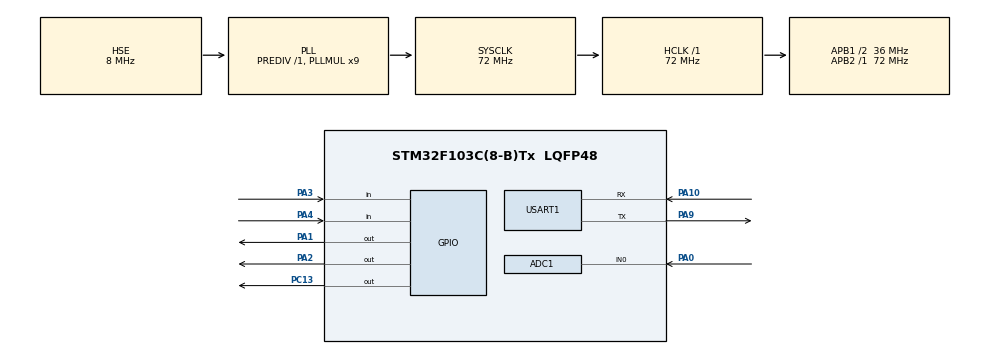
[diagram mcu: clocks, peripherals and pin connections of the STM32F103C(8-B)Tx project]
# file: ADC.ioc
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ADC1.Channel-0\#ChannelRegularConversion=ADC_CHANNEL_0
ADC1.ContinuousConvMode=ENABLE
ADC1.NbrOfConversionFlag=1
ADC1.Rank-0\#ChannelRegularConversion=1
ADC1.SamplingTime-0\#ChannelRegularConversion=ADC_SAMPLETIME_28CYCLES_5
ADC1.master=1
Mcu.Family=STM32F1
Mcu.Name=STM32F103C(8-B)Tx
Mcu.Package=LQFP48
NVIC.ADC1_2_IRQn=true\:0\:0\:false\:false\:true\:true\:true\:true
NVIC.PriorityGroup=NVIC_PRIORITYGROUP_4
NVIC.USART1_IRQn=true\:0\:0\:false\:false\:true\:true\:true\:true
PA0-WKUP.Signal=ADCx_IN0
PA1.Signal=GPIO_Output
PA10.Mode=Asynchronous
PA10.Signal=USART1_RX
PA13.Mode=Serial_Wire
PA13.Signal=SYS_JTMS-SWDIO
PA14.Mode=Serial_Wire
PA14.Signal=SYS_JTCK-SWCLK
PA2.Signal=GPIO_Output
PA3.GPIO_PuPd=GPIO_PULLUP
PA3.Signal=GPIO_Input
PA4.GPIO_PuPd=GPIO_PULLUP
PA4.Signal=GPIO_Input
PA9.Mode=Asynchronous
PA9.Signal=USART1_TX
PC13-TAMPER-RTC.Signal=GPIO_Output
PD0-OSC_IN.Mode=HSE-External-Oscillator
PD0-OSC_IN.Signal=RCC_OSC_IN
PD1-OSC_OUT.Mode=HSE-External-Oscillator
PD1-OSC_OUT.Signal=RCC_OSC_OUT
ProjectManager.HeapSize=0x200
ProjectManager.StackSize=0x400
ProjectManager.TargetToolchain=MDK-ARM V5.32
RCC.ADCPresc=RCC_ADCPCLK2_DIV6
RCC.AHBFreq_Value=72000000
RCC.APB1CLKDivider=RCC_HCLK_DIV2
RCC.APB1Freq_Value=36000000
RCC.APB1TimFreq_Value=72000000
RCC.APB2Freq_Value=72000000
RCC.APB2TimFreq_Value=72000000
RCC.HCLKFreq_Value=72000000
RCC.PLLMUL=RCC_PLL_MUL9
RCC.PLLSourceVirtual=RCC_PLLSOURCE_HSE
RCC.SYSCLKFreq_VALUE=72000000
RCC.SYSCLKSource=RCC_SYSCLKSOURCE_PLLCLK
RCC.USBFreq_Value=72000000
SH.ADCx_IN0.0=ADC1_IN0,IN0
USART1.StopBits=STOPBITS_1
USART1.VirtualMode=VM_ASYNC
board=custom

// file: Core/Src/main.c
/* USER CODE BEGIN Header */
/**
  ******************************************************************************
  * @file           : main.c
  * @brief          : Main program body
  ******************************************************************************
  * @attention
  *
  * Copyright (c) 2026 STMicroelectronics.
  * All rights reserved.
  *
  * This software is licensed under terms that can be found in the LICENSE file
  * in the root directory of this software component.
  * If no LICENSE file comes with this software, it is provided AS-IS.
  *
  ******************************************************************************
  */
/* USER CODE END Header */
#include "main.h"
#include "adc.h"
#include "usart.h"
#include "gpio.h"

/* USER CODE BEGIN Includes */
#include <stdio.h>
#include <string.h>
#include <stdlib.h>
/* USER CODE END Includes */

/* USER CODE BEGIN PD */
#define BASE_SAMPLE_RATE 1000  // 基准采样率 1kHz (1ms)
#define RX_BUFFER_SIZE 10
/* USER CODE END PD */

/* USER CODE BEGIN PV */
// 控制状态变量
uint8_t is_running = 1;        // 默认开机直接运行
uint32_t target_print_freq = 4; // 默认打印频率 1kHz (即不进行平均)
uint32_t samples_per_print = 249;    // 计算出的累加次数：1000 / target_print_freq

// ADC 数据处理变量
uint32_t adc_accumulator = 0;  // 累加器
uint32_t sample_counter = 0;   // 当前已采集样本数

// 计时变量
uint32_t last_sample_tick = 0;
uint32_t last_blink_tick = 0;
uint32_t last_key_tick = 0;

// 串口接收变量
uint8_t rx_byte;               // 接收单字节缓冲
char rx_buffer[RX_BUFFER_SIZE]; // 命令字符串缓冲
uint8_t rx_index = 0;
/* USER CODE END PV */

void SystemClock_Config(void);
/* USER CODE BEGIN PFP */
// 重定向 printf 到串口
int fputc(int ch, FILE *f) {
  HAL_UART_Transmit(&huart1, (uint8_t *)&ch, 1, 10);
  return ch;
}

// 处理接收到的命令字符串
void Process_Command(char *cmd) {
    if (cmd[0] == 'c') {
        // 切换启停
        is_running = !is_running;
        printf("System %s\r\n", is_running ? "Resumed" : "Stopped");
    }
    else if (cmd[0] == 't') {
        // 解析频率 t1000 或 t1
        int freq = atoi(&cmd[1]);
        if (freq > 0 && freq <= 1000) {
            target_print_freq = freq;
            samples_per_print = BASE_SAMPLE_RATE / target_print_freq;
            if (samples_per_print == 0) samples_per_print = 1;

            // 重置计数器防止逻辑错误
            sample_counter = 0;
            adc_accumulator = 0;
            printf("Print Freq set to: %d Hz (Avg %lu samples)\r\n", freq, samples_per_print);
        } else {
            printf("Error: Freq must be 1-1000\r\n");
        }
    }
}
/* USER CODE END PFP */

/* USER CODE BEGIN 0 */
// 串口接收中断回调函数
void HAL_UART_RxCpltCallback(UART_HandleTypeDef *huart) {
    if (huart->Instance == USART1) {
        // 如果收到换行符或缓冲区满，处理命令
        if (rx_byte == '\n' || rx_byte == '\r' || rx_index >= RX_BUFFER_SIZE - 1) {
            rx_buffer[rx_index] = '\0'; // 字符串结束符
            if (rx_index > 0) {
                Process_Command(rx_buffer);
            }
            rx_index = 0; // 重置缓冲区
        } else {
            rx_buffer[rx_index++] = rx_byte; // 存入缓冲
        }
        // 重新开启接收
        HAL_UART_Receive_IT(&huart1, &rx_byte, 1);
    }
}
/* USER CODE END 0 */

int main(void)
{

  /* MCU Configuration--------------------------------------------------------*/

  /* Reset of all peripherals, Initializes the Flash interface and the Systick. */
  HAL_Init();

  /* Configure the system clock */
  SystemClock_Config();

  /* Initialize all configured peripherals */
  MX_GPIO_Init();
  MX_ADC1_Init();
  MX_USART1_UART_Init();
  /* USER CODE BEGIN 2 */
  HAL_ADCEx_Calibration_Start(&hadc1); // ADC 校准，提高精度
  HAL_UART_Receive_IT(&huart1, &rx_byte, 1); // 开启串口接收中断

  printf("System Ready. Commands: 'c' to toggle, 't1000' to set freq.\r\n");
  last_sample_tick = HAL_GetTick();
  /* USER CODE END 2 */

  /* Infinite loop */
  while (1)
  {

    /* USER CODE BEGIN 3 */
	  uint32_t current_tick = HAL_GetTick();

    // --- 1. 按键检测 (PA3 上拉，按下为低电平) ---
    if (HAL_GPIO_ReadPin(GPIOA, GPIO_PIN_3) == GPIO_PIN_RESET) {
        if (current_tick - last_key_tick > 200) { // 200ms 消抖
            is_running = !is_running;
            printf("Key Pressed: System %s\r\n", is_running ? "Resumed" : "Stopped");
            last_key_tick = current_tick;
        }
    } else {
        // 如果按键抬起，稍微更新时间，避免长按松开后的误触（可选）
    }

    // --- 2. 采样任务 (1kHz = 1ms) ---
    if (is_running) {
        // 检查是否经过了 1ms
        if (current_tick - last_sample_tick >= 1) {
            last_sample_tick = current_tick;

            // 启动 ADC 转换
            HAL_ADC_Start(&hadc1);
            if (HAL_ADC_PollForConversion(&hadc1, 1) == HAL_OK) {
                uint32_t adc_val = HAL_ADC_GetValue(&hadc1);
                adc_accumulator += adc_val;
                sample_counter++;
            }

            // 检查是否达到打印/平均条件
            if (sample_counter >= samples_per_print) {
                // 计算平均值 (防止浮点运算过于频繁，先用整型，打印时转浮点)
                float voltage = (float)(adc_accumulator / sample_counter) * 3.3f / 4095.0f;

                // 打印数据
                // 注意：如果频率是 1000Hz，波特率 115200 可能跟不上打印速度，建议只在低频时打印详细信息
                if (target_print_freq > 500) {
                     // 高频模式简化输出，避免串口阻塞
                     printf("%.2f\n", voltage);
                } else {
                     printf("[%lu ms] Volt: %.3f V\r\n", current_tick, voltage);
                }

                // 清空计数器
                adc_accumulator = 0;
                sample_counter = 0;
            }
        }

        // --- 3. LED 闪烁 (PC13) ---
        // 运行状态下，每 200ms 翻转一次 (2.5Hz 闪烁)
        if (current_tick - last_blink_tick > 200) {
            HAL_GPIO_TogglePin(GPIOC, GPIO_PIN_13);
            last_blink_tick = current_tick;
        }
    } else {
        // 停止状态下，可以强制关闭 LED 或常亮，这里选择关闭 (PC13 通常低电平亮，高电平灭)
        HAL_GPIO_WritePin(GPIOC, GPIO_PIN_13, GPIO_PIN_SET);
        // 保持采样时间同步，避免恢复时瞬间执行多次
        last_sample_tick = current_tick;
    }
  }
  /* USER CODE END 3 */
}

void SystemClock_Config(void)
{
  RCC_OscInitTypeDef RCC_OscInitStruct = {0};
  RCC_ClkInitTypeDef RCC_ClkInitStruct = {0};
  RCC_PeriphCLKInitTypeDef PeriphClkInit = {0};

  /** Initializes the RCC Oscillators according to the specified parameters
  * in the RCC_OscInitTypeDef structure.
  */
  RCC_OscInitStruct.OscillatorType = RCC_OSCILLATORTYPE_HSE;
  RCC_OscInitStruct.HSEState = RCC_HSE_ON;
  RCC_OscInitStruct.HSEPredivValue = RCC_HSE_PREDIV_DIV1;
  RCC_OscInitStruct.HSIState = RCC_HSI_ON;
  RCC_OscInitStruct.PLL.PLLState = RCC_PLL_ON;
  RCC_OscInitStruct.PLL.PLLSource = RCC_PLLSOURCE_HSE;
  RCC_OscInitStruct.PLL.PLLMUL = RCC_PLL_MUL9;
  if (HAL_RCC_OscConfig(&RCC_OscInitStruct) != HAL_OK)
  {
    Error_Handler();
  }

  /** Initializes the CPU, AHB and APB buses clocks
  */
  RCC_ClkInitStruct.ClockType = RCC_CLOCKTYPE_HCLK|RCC_CLOCKTYPE_SYSCLK
                              |RCC_CLOCKTYPE_PCLK1|RCC_CLOCKTYPE_PCLK2;
  RCC_ClkInitStruct.SYSCLKSource = RCC_SYSCLKSOURCE_PLLCLK;
  RCC_ClkInitStruct.AHBCLKDivider = RCC_SYSCLK_DIV1;
  RCC_ClkInitStruct.APB1CLKDivider = RCC_HCLK_DIV2;
  RCC_ClkInitStruct.APB2CLKDivider = RCC_HCLK_DIV1;

  if (HAL_RCC_ClockConfig(&RCC_ClkInitStruct, FLASH_LATENCY_2) != HAL_OK)
  {
    Error_Handler();
  }
  PeriphClkInit.PeriphClockSelection = RCC_PERIPHCLK_ADC;
  PeriphClkInit.AdcClockSelection = RCC_ADCPCLK2_DIV6;
  if (HAL_RCCEx_PeriphCLKConfig(&PeriphClkInit) != HAL_OK)
  {
    Error_Handler();
  }
}

void Error_Handler(void)
{
  __disable_irq();
  while (1)
  {
  }
}
